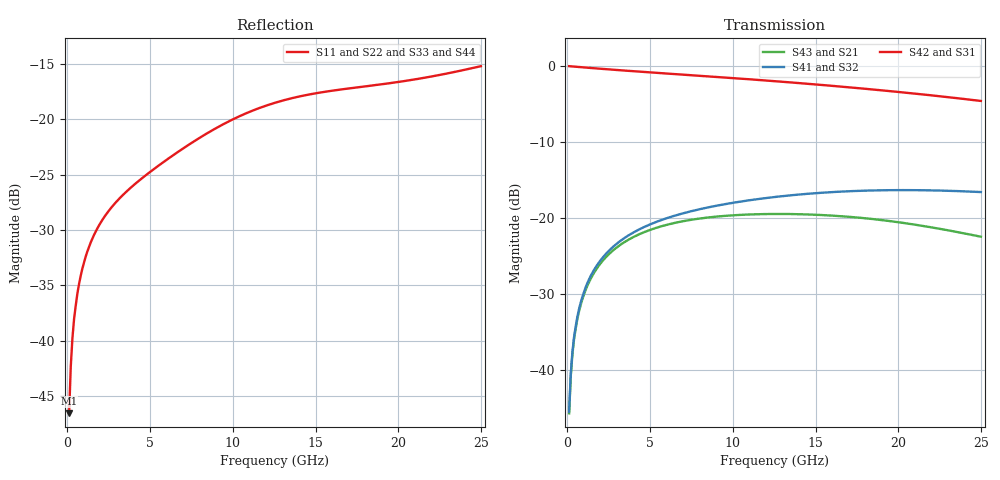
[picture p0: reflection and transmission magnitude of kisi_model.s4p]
! kisi E_s8_L1L8_p1000_round_g0: fast channel model (formula impedances, via model), up to 25 GHz
# Hz S RI R 50
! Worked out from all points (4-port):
!   250 points, 100 MHz to 25 GHz, reference 50 ohm
!   strongest paths, dB at 100 MHz, 6.3 GHz, 12.6 GHz, 18.8 GHz, 25 GHz:
!     S42: 0.0, -1.0, -2.0, -3.2, -4.6
!     S31: 0.0, -1.0, -2.0, -3.2, -4.6
!     S41: -45.5, -19.8, -17.2, -16.4, -16.6
!     S32: -45.5, -19.8, -17.2, -16.4, -16.6
!     S43: -45.8, -20.8, -19.5, -20.3, -22.5
!     S21: -45.8, -20.8, -19.5, -20.3, -22.5
!   lowest |S11| = -46.6 dB at 100 MHz (marker M1), VSWR 1.01, Z = 50.3 + j0.38 ohm
!   |S11| at or under -10 dB: start of sweep to end of sweep
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1e8  0.0028 0.00377  0.00162 0.00489  0.9957 -0.0434  -0.00163 -0.00503
     0.00162 0.00489  0.0028 0.00377  -0.00163 -0.00503  0.9957 -0.0434
     0.9957 -0.0434  -0.00163 -0.00503  0.0028 0.00377  0.00162 0.00489
     -0.00163 -0.00503  0.9957 -0.0434  0.00162 0.00489  0.0028 0.00377
3.8e9  0.0212 -0.0442  0.0608 -0.0401  0.0991 -0.9212  -0.0665 0.0404
       0.0608 -0.0401  0.0212 -0.0442  -0.0665 0.0404  0.0991 -0.9212
       0.0991 -0.9212  -0.0665 0.0404  0.0212 -0.0442  0.0608 -0.0401
       -0.0665 0.0404  0.0991 -0.9212  0.0608 -0.0401  0.0212 -0.0442
7.7e9  -0.0795 -0.00927  -0.0585 -0.0784  -0.8417 -0.204  0.0615 0.0935
       -0.0585 -0.0784  -0.0795 -0.00927  0.0615 0.0935  -0.8417 -0.204
       -0.8417 -0.204  0.0615 0.0935  -0.0795 -0.00927  -0.0585 -0.0784
       0.0615 0.0935  -0.8417 -0.204  -0.0585 -0.0784  -0.0795 -0.00927
1.22e10  0.013 0.116  -0.0687 0.0805  -0.1278 0.7887  0.0936 -0.0982
         -0.0687 0.0805  0.013 0.116  0.0936 -0.0982  -0.1278 0.7887
         -0.1278 0.7887  0.0936 -0.0982  0.013 0.116  -0.0687 0.0805
         0.0936 -0.0982  -0.1278 0.7887  -0.0687 0.0805  0.013 0.116
1.66e10  0.1368 -0.000462  0.0865 0.0547  0.7244 0.0912  -0.1248 -0.0811
         0.0865 0.0547  0.1368 -0.000462  -0.1248 -0.0811  0.7244 0.0912
         0.7244 0.0912  -0.1248 -0.0811  0.1368 -0.000462  0.0865 0.0547
         -0.1248 -0.0811  0.7244 0.0912  0.0865 0.0547  0.1368 -0.000462
2.08e10  0.0442 -0.1443  0.0454 -0.0787  0.1082 -0.6519  -0.0685 0.1358
         0.0454 -0.0787  0.0442 -0.1443  -0.0685 0.1358  0.1082 -0.6519
         0.1082 -0.6519  -0.0685 0.1358  0.0442 -0.1443  0.0454 -0.0787
         -0.0685 0.1358  0.1082 -0.6519  0.0454 -0.0787  0.0442 -0.1443
2.5e10  -0.1433 -0.099  -0.065 -0.0375  -0.576 -0.1189  0.1382 0.0521
        -0.065 -0.0375  -0.1433 -0.099  0.1382 0.0521  -0.576 -0.1189
        -0.576 -0.1189  0.1382 0.0521  -0.1433 -0.099  -0.065 -0.0375
        0.1382 0.0521  -0.576 -0.1189  -0.065 -0.0375  -0.1433 -0.099
